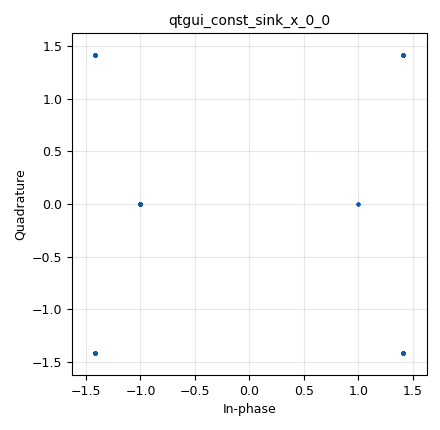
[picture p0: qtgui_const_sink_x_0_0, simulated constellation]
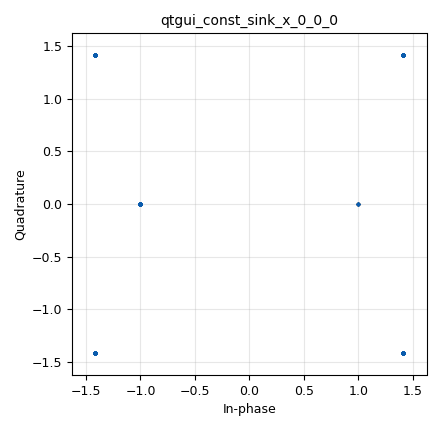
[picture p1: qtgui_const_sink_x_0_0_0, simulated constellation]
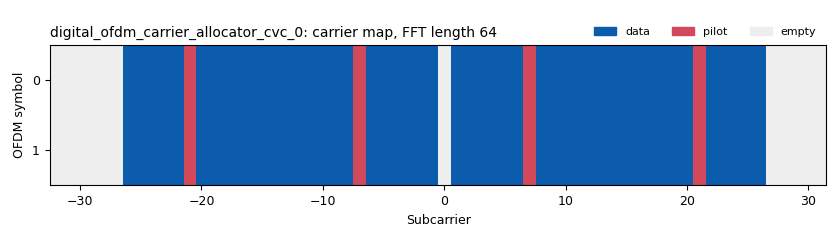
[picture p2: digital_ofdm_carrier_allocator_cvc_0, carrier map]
options:
  parameters:
    author: zty
    generate_options: qt_gui
    id: MIMO_tx
    output_language: python
    title: MIMO_tx
  states: {}

blocks:
- name: centre_fre
  id: variable
  parameters:
    value: '920000000'
  states: {}
- name: fft_len
  id: variable
  parameters:
    value: '64'
  states: {}
- name: gain
  id: variable
  parameters:
    value: '50'
  states: {}
- name: hdr_format
  id: variable
  parameters:
    value: digital.header_format_ofdm(occupied_carriers, 1, length_tag_key,)
  states: {}
- name: header_equalizer
  id: variable
  parameters:
    value: digital.ofdm_equalizer_simpledfe(fft_len, header_mod.base(), occupied_carriers, pilot_carriers, pilot_symbols)
  states: {}
- name: header_formatter
  id: variable
  parameters:
    value: digital.packet_header_ofdm(occupied_carriers, n_syms=1, len_tag_key=packet_length_tag_key, frame_len_tag_key=length_tag_key1, bits_per_header_sym=header_mod.bits_per_symbol(), bits_per_payload_sym=payload_mod.bits_per_symbol(), scramble_header=False)
  states: {}
- name: header_mod
  id: variable
  parameters:
    value: digital.constellation_bpsk()
  states: {}
- name: length_tag_key
  id: variable
  parameters:
    value: '"packet_len"'
  states: {}
- name: length_tag_key1
  id: variable
  parameters:
    value: '"frame_len"'
  states: {}
- name: occupied_carriers
  id: variable
  parameters:
    value: (list(range(-26, -21)) + list(range(-20, -7)) + list(range(-6, 0)) + list(range(1, 7)) + list(range(8, 21)) + list(range(22, 27)),)
  states: {}
- name: packet_len
  id: variable
  parameters:
    value: '96'
  states: {}
- name: packet_length_tag_key
  id: variable
  parameters:
    value: '"packet_len"'
  states: {}
- name: payload_equalizer
  id: variable
  parameters:
    value: digital.ofdm_equalizer_simpledfe(fft_len, payload_mod.base(), occupied_carriers, pilot_carriers, pilot_symbols, 1)
  states: {}
- name: payload_mod
  id: variable
  parameters:
    value: digital.constellation_qpsk()
  states: {}
- name: pilot_carriers
  id: variable
  parameters:
    value: ((-21, -7, 7, 21,),)
  states: {}
- name: pilot_symbols
  id: variable
  parameters:
    value: ((1, 1, 1, -1,),)
  states: {}
- name: rolloff
  id: variable
  parameters:
    value: '0'
  states: {}
- name: samp_rate
  id: variable
  parameters:
    value: '1000000'
  states: {}
- name: sync_word1
  id: variable
  parameters:
    value: '[0., 0., 0., 0., 0., 0., 0., 1.41421356, 0., -1.41421356, 0., 1.41421356, 0., -1.41421356, 0., -1.41421356, 0., -1.41421356, 0., 1.41421356, 0., -1.41421356, 0., 1.41421356, 0., -1.41421356, 0., -1.41421356, 0., -1.41421356, 0., -1.41421356, 0., 1.41421356, 0., -1.41421356, 0., 1.41421356, 0., 1.41421356, 0., 1.41421356, 0., -1.41421356, 0., 1.41421356, 0., 1.41421356, 0., 1.41421356, 0., -1.41421356, 0., 1.41421356, 0., 1.41421356, 0., 1.41421356, 0., 0., 0., 0., 0., 0.]'
  states: {}
- name: sync_word2
  id: variable
  parameters:
    value: '[0, 0, 0, 0, 0, 0, -1, -1, -1, -1, 1, 1, -1, -1, -1, 1, -1, 1, 1, 1, 1, 1, -1, -1, -1, -1, -1, 1, -1, -1, 1, -1, 0, 1, -1, 1, 1, 1, -1, 1, 1, 1, -1, 1, 1, 1, 1, -1, 1, -1, -1, -1, 1, -1, 1, -1, -1, -1, -1, 0, 0, 0, 0, 0]'
  states: {}
- name: sync_word3
  id: variable
  parameters:
    value: '[0, 0, 0, 0, 0, 0, -1, -1, -1, -1, 1, 1, -1, -1, -1, 1, -1, 1, 1, 1, 1, 1, -1, -1, -1, -1, -1, 1, -1, -1, 1, -1, 0, 1, -1, 1, 1, 1, -1, 1, 1, 1, -1, 1, 1, 1, 1, -1, 1, -1, -1, -1, 1, -1, 1, -1, -1, -1, -1, 0, 0, 0, 0, 0]'
  states: {}
- name: sync_word4
  id: variable
  parameters:
    value: '[0, 0, 0, 0, 0, 0, -1, -1, -1, -1, 1, 1, -1, -1, -1, 1, -1, 1, 1, 1, 1, 1, -1, -1, -1, -1, -1, 1, -1, -1, 1, -1, 0, 1, -1, 1, 1, 1, -1, 1, 1, 1, -1, 1, 1, 1, 1, -1, 1, -1, -1, -1, 1, -1, 1, -1, -1, -1, -1, 0, 0, 0, 0, 0]'
  states: {}
- name: sync_word5
  id: variable
  parameters:
    value: '[0, 0, 0, 0, 0, 0, 1, 1, 1, 1, -1, -1, 1, 1, 1, -1, 1, -1, -1, -1, -1, -1, 1, 1, 1, 1, 1, -1, 1, 1, -1, 1, 0, -1, 1, -1, -1, -1, 1, -1, -1, -1, 1, -1, -1, -1, -1, 1, -1, 1, 1, 1, -1, 1, -1, 1, 1, 1, 1, 0, 0, 0, 0, 0]'
  states: {}
- name: analog_random_source_x_0
  id: analog_random_source_x
  parameters:
    max: '255'
    min: '0'
    num_samps: '1000'
    repeat: 'True'
    type: byte
  states: {}
- name: analog_random_source_x_0_0
  id: analog_random_source_x
  parameters:
    max: '255'
    min: '0'
    num_samps: '1000'
    repeat: 'True'
    type: byte
  states: {}
- name: blocks_multiply_const_vxx_0
  id: blocks_multiply_const_vxx
  parameters:
    const: '0.053'
    type: complex
  states: {}
- name: blocks_multiply_const_vxx_0_0
  id: blocks_multiply_const_vxx
  parameters:
    const: '0.053'
    type: complex
  states: {}
- name: blocks_repack_bits_bb_0_0
  id: blocks_repack_bits_bb
  parameters:
    endianness: gr.GR_LSB_FIRST
    k: '8'
    l: payload_mod.bits_per_symbol()
    len_tag_key: length_tag_key
  states: {}
- name: blocks_repack_bits_bb_0_0_0
  id: blocks_repack_bits_bb
  parameters:
    endianness: gr.GR_LSB_FIRST
    k: '8'
    l: '1'
    len_tag_key: length_tag_key
  states: {}
- name: blocks_repack_bits_bb_0_0_0_0
  id: blocks_repack_bits_bb
  parameters:
    endianness: gr.GR_LSB_FIRST
    k: '8'
    l: '1'
    len_tag_key: length_tag_key
  states: {}
- name: blocks_repack_bits_bb_0_0_1
  id: blocks_repack_bits_bb
  parameters:
    endianness: gr.GR_LSB_FIRST
    k: '8'
    l: payload_mod.bits_per_symbol()
    len_tag_key: length_tag_key
  states: {}
- name: blocks_stream_to_tagged_stream_0
  id: blocks_stream_to_tagged_stream
  parameters:
    len_tag_key: length_tag_key
    packet_len: packet_len
    type: byte
  states: {}
- name: blocks_stream_to_tagged_stream_0_0
  id: blocks_stream_to_tagged_stream
  parameters:
    len_tag_key: length_tag_key
    packet_len: packet_len
    type: byte
  states: {}
- name: blocks_tag_gate_0
  id: blocks_tag_gate
  parameters:
    propagate_tags: 'False'
    type: complex
  states: {}
- name: blocks_tag_gate_0_0
  id: blocks_tag_gate
  parameters:
    propagate_tags: 'False'
    type: complex
  states: {}
- name: blocks_tagged_stream_mux_0
  id: blocks_tagged_stream_mux
  parameters:
    lengthtagname: length_tag_key
    ninputs: '2'
    type: complex
  states: {}
- name: blocks_tagged_stream_mux_0_0
  id: blocks_tagged_stream_mux
  parameters:
    lengthtagname: length_tag_key
    ninputs: '2'
    type: complex
  states: {}
- name: digital_chunks_to_symbols_xx_0
  id: digital_chunks_to_symbols_xx
  parameters:
    dimension: '1'
    in_type: byte
    out_type: complex
    symbol_table: header_mod.points()
  states: {}
- name: digital_chunks_to_symbols_xx_0_0
  id: digital_chunks_to_symbols_xx
  parameters:
    dimension: '1'
    in_type: byte
    out_type: complex
    symbol_table: payload_mod.points()
  states: {}
- name: digital_chunks_to_symbols_xx_0_0_0
  id: digital_chunks_to_symbols_xx
  parameters:
    dimension: '1'
    in_type: byte
    out_type: complex
    symbol_table: payload_mod.points()
  states: {}
- name: digital_chunks_to_symbols_xx_0_1
  id: digital_chunks_to_symbols_xx
  parameters:
    dimension: '1'
    in_type: byte
    out_type: complex
    symbol_table: header_mod.points()
  states: {}
- name: digital_ofdm_carrier_allocator_cvc_0
  id: digital_ofdm_carrier_allocator_cvc
  parameters:
    fft_len: fft_len
    len_tag_key: length_tag_key
    occupied_carriers: occupied_carriers
    output_is_shifted: 'True'
    pilot_carriers: pilot_carriers
    pilot_symbols: pilot_symbols
    sync_words: (sync_word1, sync_word2, sync_word3)
  states: {}
- name: digital_ofdm_carrier_allocator_cvc_0_0
  id: digital_ofdm_carrier_allocator_cvc
  parameters:
    fft_len: fft_len
    len_tag_key: length_tag_key
    occupied_carriers: occupied_carriers
    output_is_shifted: 'True'
    pilot_carriers: pilot_carriers
    pilot_symbols: pilot_symbols
    sync_words: (sync_word1, sync_word4, sync_word5)
  states: {}
- name: digital_ofdm_cyclic_prefixer_0
  id: digital_ofdm_cyclic_prefixer
  parameters:
    cp_len: int(fft_len/4)
    input_size: fft_len
    rolloff: rolloff
    tagname: length_tag_key
  states: {}
- name: digital_ofdm_cyclic_prefixer_0_0
  id: digital_ofdm_cyclic_prefixer
  parameters:
    cp_len: int(fft_len/4)
    input_size: fft_len
    rolloff: rolloff
    tagname: length_tag_key
  states: {}
- name: digital_protocol_formatter_bb_0
  id: digital_protocol_formatter_bb
  parameters:
    format: hdr_format
    len_tag_key: length_tag_key
  states: {}
- name: digital_protocol_formatter_bb_0_0
  id: digital_protocol_formatter_bb
  parameters:
    format: hdr_format
    len_tag_key: length_tag_key
  states: {}
- name: fft_vxx_0_0
  id: fft_vxx
  parameters:
    fft_size: fft_len
    forward: 'False'
    shift: 'True'
    type: complex
    window: ()
  states: {}
- name: fft_vxx_0_0_0
  id: fft_vxx
  parameters:
    fft_size: fft_len
    forward: 'False'
    shift: 'True'
    type: complex
    window: ()
  states: {}
- name: qtgui_const_sink_x_0_0
  id: qtgui_const_sink_x
  parameters:
    autoscale: 'True'
    size: '1024'
    type: complex
    xmax: '1.5'
    xmin: '-1.5'
    ymax: '1.5'
    ymin: '-1.5'
  states: {}
- name: qtgui_const_sink_x_0_0_0
  id: qtgui_const_sink_x
  parameters:
    autoscale: 'True'
    size: '1024'
    type: complex
    xmax: '1.5'
    xmin: '-1.5'
    ymax: '1.5'
    ymin: '-1.5'
  states: {}
- name: uhd_usrp_sink_0
  id: uhd_usrp_sink
  parameters:
    ant0: TX/RX
    ant1: TX/RX
    center_freq0: centre_fre
    center_freq1: centre_fre
    clock_source0: internal
    dev_addr: '"serial=31DB555"'
    dev_args: '""'
    gain0: gain
    gain1: gain
    len_tag_name: ''
    nchan: '2'
    samp_rate: samp_rate
    sd_spec0: A:0 B:0
    sync: sync
    type: fc32
  states: {}

connections:
- [analog_random_source_x_0, '0', blocks_stream_to_tagged_stream_0, '0']
- [analog_random_source_x_0_0, '0', blocks_stream_to_tagged_stream_0_0, '0']
- [blocks_multiply_const_vxx_0, '0', blocks_tag_gate_0, '0']
- [blocks_multiply_const_vxx_0_0, '0', blocks_tag_gate_0_0, '0']
- [blocks_repack_bits_bb_0_0, '0', digital_chunks_to_symbols_xx_0_0, '0']
- [blocks_repack_bits_bb_0_0_0, '0', digital_chunks_to_symbols_xx_0, '0']
- [blocks_repack_bits_bb_0_0_0_0, '0', digital_chunks_to_symbols_xx_0_1, '0']
- [blocks_repack_bits_bb_0_0_1, '0', digital_chunks_to_symbols_xx_0_0_0, '0']
- [blocks_stream_to_tagged_stream_0, '0', blocks_repack_bits_bb_0_0, '0']
- [blocks_stream_to_tagged_stream_0, '0', digital_protocol_formatter_bb_0, '0']
- [blocks_stream_to_tagged_stream_0_0, '0', blocks_repack_bits_bb_0_0_1, '0']
- [blocks_stream_to_tagged_stream_0_0, '0', digital_protocol_formatter_bb_0_0, '0']
- [blocks_tag_gate_0, '0', uhd_usrp_sink_0, '0']
- [blocks_tag_gate_0_0, '0', uhd_usrp_sink_0, '1']
- [blocks_tagged_stream_mux_0, '0', digital_ofdm_carrier_allocator_cvc_0, '0']
- [blocks_tagged_stream_mux_0, '0', qtgui_const_sink_x_0_0, '0']
- [blocks_tagged_stream_mux_0_0, '0', digital_ofdm_carrier_allocator_cvc_0_0, '0']
- [blocks_tagged_stream_mux_0_0, '0', qtgui_const_sink_x_0_0_0, '0']
- [digital_chunks_to_symbols_xx_0, '0', blocks_tagged_stream_mux_0, '0']
- [digital_chunks_to_symbols_xx_0_0, '0', blocks_tagged_stream_mux_0, '1']
- [digital_chunks_to_symbols_xx_0_0_0, '0', blocks_tagged_stream_mux_0_0, '1']
- [digital_chunks_to_symbols_xx_0_1, '0', blocks_tagged_stream_mux_0_0, '0']
- [digital_ofdm_carrier_allocator_cvc_0, '0', fft_vxx_0_0, '0']
- [digital_ofdm_carrier_allocator_cvc_0_0, '0', fft_vxx_0_0_0, '0']
- [digital_ofdm_cyclic_prefixer_0, '0', blocks_multiply_const_vxx_0, '0']
- [digital_ofdm_cyclic_prefixer_0_0, '0', blocks_multiply_const_vxx_0_0, '0']
- [digital_protocol_formatter_bb_0, '0', blocks_repack_bits_bb_0_0_0, '0']
- [digital_protocol_formatter_bb_0_0, '0', blocks_repack_bits_bb_0_0_0_0, '0']
- [fft_vxx_0_0, '0', digital_ofdm_cyclic_prefixer_0, '0']
- [fft_vxx_0_0_0, '0', digital_ofdm_cyclic_prefixer_0_0, '0']

metadata:
  file_format: 1
  grc_version: 3.10.10.0
